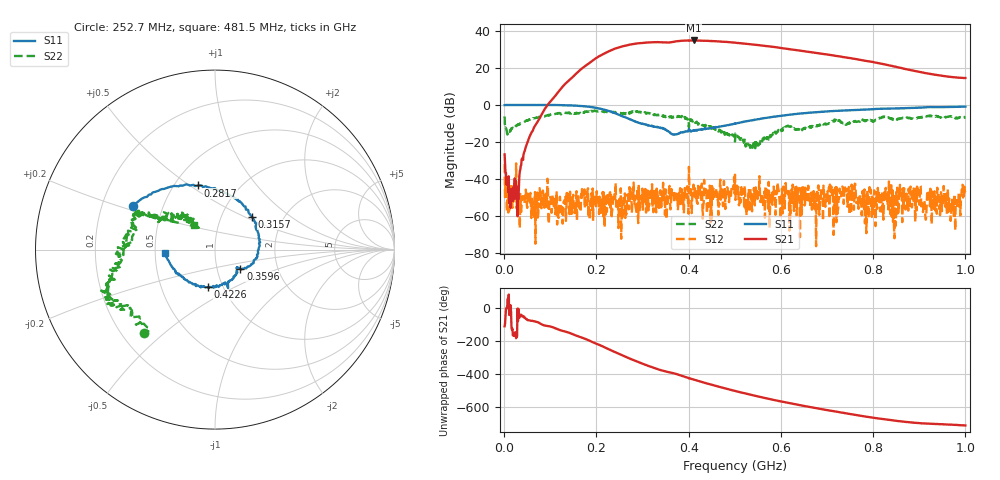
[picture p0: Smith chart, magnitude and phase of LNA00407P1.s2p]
! Created with skrf 1.9.0 (http://scikit-rf.org).
# Hz S RI R 50.0
!freq ReS11 ImS11 ReS21 ImS21 ReS12 ImS12 ReS22 ImS22
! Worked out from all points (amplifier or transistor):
!   1001 points, 1 MHz to 1 GHz, reference 50 ohm
!   highest |S21| = 34.9 dB at 410.6 MHz (marker M1)
!   |S21| within 3 dB of that: 260 MHz to 568.1 MHz (308.1 MHz wide, 74.4 % of centre)
!   unconditionally stable (mu >= 1): 292.1 MHz to 400.3 MHz; 401.2 MHz to 500.5 MHz; 500.5 MHz to end of sweep (the widest 3 of 36)
!   at 166.8 MHz: K = 0.42, MSG = 33.8 dB, |S12| = -48.3 dB
!   at 500.5 MHz: K = 0.99, MSG = 35.7 dB, |S12| = -37.7 dB
!   at 1 GHz: K = 3.06, MAG = 22.7 dB, |S12| = -46.4 dB
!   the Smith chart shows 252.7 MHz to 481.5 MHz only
!   S11 on the Smith chart (normalised r, x): 252.7 MHz: 0.34, +0.22; 281.7 MHz: 0.65, +0.54; 315.7 MHz: 1.39, +0.55; 359.6 MHz: 1.29, -0.28; 422.6 MHz: 0.85, -0.37; 481.5 MHz: 0.56, -0.02
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1000000  0.989 0.0129  -0.0145 -0.0438  -0.0178 0.0178  0.3671 0.325
1.08892e8  0.5298 -0.843  -0.7718 -1.467  0.00103 0.00293  0.4158 -0.3794
1.67833e8  -0.2144 -0.907  -9.507 -0.626  0.000754 -0.00253  0.0291 -0.6373
2.13787e8  -0.6799 -0.3425  -14.86 18.08  -0.00249 -0.00367  -0.238 -0.6521
2.32768e8  -0.6488 -0.0178  -7.492 29.63  0.000706 -0.00047  -0.2763 -0.5771
2.52748e8  -0.4565 0.2431  6.83 36.75  -0.00263 -0.00491  -0.3937 -0.462
2.81719e8  -0.0932 0.3574  31.85 31.38  -0.00298 0.000386  -0.5637 -0.2826
3.15685e8  0.2061 0.184  48.9 6.662  -0.00241 0.00197  -0.5707 -0.1258
3.34666e8  0.2488 0.0209  49.06 -9.207  -0.00144 0.00232  -0.5225 -0.0325
3.59641e8  0.1412 -0.1062  43.01 -23.98  -0.000754 0.0022  -0.4845 0.0911
3.8062e8  0.1221 -0.1223  38.05 -38.43  -0.000771 0.00413  -0.4415 0.1981
4.1059e8  0.0209 -0.2082  17.03 -52.83  0.0017 0.00678  -0.295 0.1823
4.22578e8  -0.0404 -0.2097  7.685 -54.42  0.00123 0.00316  -0.2396 0.183
4.5055e8  -0.1785 -0.1527  -13.16 -52.17  0.00639 0.000726  -0.1836 0.2066
4.81519e8  -0.2795 -0.0203  -30.98 -40.06  0.00438 0.00284  -0.1153 0.1381
5.005e8  -0.3072 0.0907  -38.01 -30.28  0.0107 0.00735  -0.0666 0.0789
5.4046e8  -0.2455 0.3063  -42.06 -8.608  0.00369 0.000455  -0.0915 0.00399
5.88412e8  -0.0553 0.4824  -34.59 11.59  -0.000797 0.000708  -0.1592 -0.0694
6.67333e8  0.3259 0.531  -12.44 23.24  -0.000653 -0.00132  -0.268 -0.0395
7.53247e8  0.6268 0.3611  4.145 17.67  -0.0068 0.0016  -0.3397 0.0301
8.34166e8  0.7817 0.1335  8.679 8.013  -0.00447 -0.00726  -0.4365 0.0935
1e9  0.8051 -0.4031  5.289 0.8134  -0.00472 -0.000745  -0.1867 0.4246
